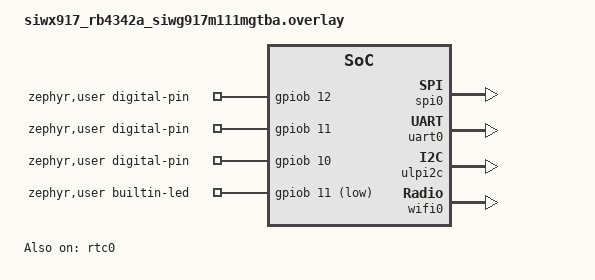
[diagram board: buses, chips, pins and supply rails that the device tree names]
&flash0 {
	partitions {
		compatible = "fixed-partitions";
		#address-cells = <1>;
		#size-cells = <1>;

		code_partition: partition@0 {
			reg = <0x00000000 0x00040000>;
			label = "code_partition";
		};

		user_sketch: partition@0x40000 {
			reg = <0x00040000 0x001B2000>;
			label = "user";
		};
	};
};

/ {
	zephyr,user {
		digital-pin-gpios =
				<&gpiob 12 0>, /* GPIO_28 - Dxx - Red LED */
				<&gpiob 11 0>, /* GPIO_27 - Dxx - Blue LED */
				<&gpiob 10 0>; /* GPIO_26 - Dxx - Green LED */

		builtin-led-gpios = <&gpiob 11 GPIO_ACTIVE_LOW>;

		serials = <&uart0>;
		i2cs = <&ulpi2c>;
		spis = <&spi0>;
	};
};

&pinctrl0 {
	spi0_default: spi0_default {
		group0 {
			/* GSPI on GPIO25 -> GPIO28 */
			pinmux = <
				GSPI_CLK_HP25
				GSPI_MISO_HP26
				GSPI_MOSI_HP27
				GSPI_CS0_HP28
			>;
		};
	};

	uart0_default: uart0_default {
		group0 {
			/* UART0 TX/RX on GPIO30/GPIO29 */
			pinmux = <
				UART0_TX_HP30
				UART0_RX_HP29
			>;
		};
	};

	ulpi2c_default: ulpi2c_default {
		group0 {
			/* ULPI2C SCL/SDA */
			pinmux = <
				ULPI2C_SCL_ULP1
				ULPI2C_SDA_ULP0
			>;
		};
	};
};

&spi0 {
	pinctrl-0 = <&spi0_default>;
	pinctrl-names = "default";
	status = "okay";
};

&uart0 {
	pinctrl-0 = <&uart0_default>;
	pinctrl-names = "default";
	/delete-property/ hw-flow-control;
	status = "okay";
};

zephyr_i2c: &ulpi2c {
	pinctrl-0 = <&ulpi2c_default>;
	pinctrl-names = "default";
	status = "okay";
};

&wifi0 {
	status = "okay";
};

&rtc0 {
	status = "okay";
};

/ {
    chosen {
        zephyr,wifi = &wifi0;
		zephyr,rtc = &rtc0;
		zephyr,console = &uart0;
		zephyr,shell-uart = &uart0;
		zephyr,uart-pipe = &uart0;
    };
};
